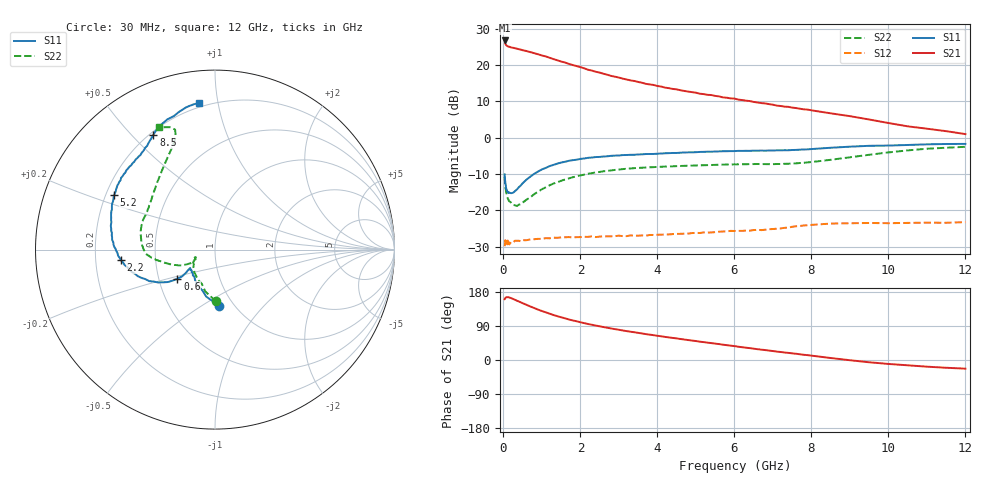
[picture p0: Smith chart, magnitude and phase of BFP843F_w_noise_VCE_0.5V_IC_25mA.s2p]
! Infineon Technologies  Discrete & RF Semiconductors
! BFP843F
! VCE =  0.5 V,  IC =  25 mA
! Common Emitter S-Parameters:  Aug 2013
# GHz  S  MA  R  50
!  f  S11  S21  S12  S22
! GHz  MAG  ANG  MAG  ANG  MAG  ANG  MAG  ANG
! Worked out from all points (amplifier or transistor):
!   103 points, 30 MHz to 12 GHz, reference 50 ohm
!   highest |S21| = 26.8 dB at 30 MHz (marker M1)
!   |S21| within 3 dB of that: start of sweep to 628 MHz
!   unconditionally stable (mu >= 1): 64.31 MHz to end of sweep
!   at 400 MHz: K = 1.07, MAG = 24.8 dB, |S12| = -28.4 dB
!   at 3.7 GHz: K = 1.24, MAG = 17.9 dB, |S12| = -27.0 dB
!   at 12 GHz: K = 1.41, MAG = 8.3 dB, |S12| = -23.2 dB
!   lowest NFmin = 0.98 dB at 450 MHz
!   S11 on the Smith chart (normalised r, x): 30 MHz: 0.85, -0.59; 600 MHz: 0.62, -0.22; 2.2 GHz: 0.31, -0.05; 5.2 GHz: 0.23, +0.24; 8.5 GHz: 0.21, +0.58; 12 GHz: 0.18, +0.88
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0.03  0.3123 -86.2  21.79 160.5  0.0321 24.0  0.2883 -89.0
0.04  0.2663 -100.6  20.42 161.4  0.0335 18.7  0.2391 -103.1
0.05  0.2392 -106.8  19.55 164.0  0.0388 21.3  0.2036 -111.4
0.07  0.2018 -123.5  18.79 165.4  0.0361 14.6  0.1778 -127.2
0.1  0.1796 -133.5  18.21 165.9  0.034 12.5  0.1537 -141.6
0.13  0.1742 -138.7  17.96 165.6  0.037 10.4  0.1408 -149.7
0.35  0.194 -142.3  16.79 156.5  0.0381 7.9  0.1149 -157.5
0.6  0.2648 -142.3  15.57 145.5  0.0388 7.8  0.1403 -151.9
0.9  0.3421 -147.8  14.06 132.9  0.0405 8.1  0.1806 -152.7
1.2  0.4063 -154.4  12.59 122.2  0.0412 7.8  0.2211 -156.5
1.4  0.4393 -159.0  11.61 115.6  0.0418 8.4  0.2435 -159.4
1.7  0.4806 -165.0  10.37 107.0  0.0428 7.8  0.2749 -163.6
2.1  0.5174 -172.0  9.003 97.2  0.0432 8.3  0.3104 -168.0
2.2  0.5282 -173.7  8.603 94.9  0.0431 9.6  0.3196 -168.7
2.6  0.5505 -179.3  7.576 86.9  0.0439 10.2  0.3448 -171.4
3.1  0.576 174.5  6.497 77.9  0.0441 10.9  0.3692 -174.6
4.1  0.6049 163.0  5.049 62.5  0.0462 13.1  0.3977 179.7
5.2  0.6378 151.7  3.98 47.2  0.0496 15.0  0.4179 171.0
6.1  0.6583 142.6  3.341 35.0  0.0522 15.8  0.43 162.5
8.5  0.7262 118.2  2.164 5.3  0.0657 13.5  0.4959 130.2
10.5  0.7933 104.6  1.433 -14.0  0.0671 8.1  0.6682 109.1
12  0.821 96.2  1.12 -22.8  0.0688 9.2  0.7491 114.5
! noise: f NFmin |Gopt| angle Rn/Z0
0.45  0.98  0.13  176  0.14
0.9  0.99  0.14  178  0.15
1.5  1.02  0.16  -175  0.15
1.9  1.06  0.17  -172  0.15
2.4  1.09  0.18  -168  0.16
3.5  1.15  0.18  -165  0.21
5.5  1.25  0.23  -141  0.27
10  1.76  0.4  -102  0.36
